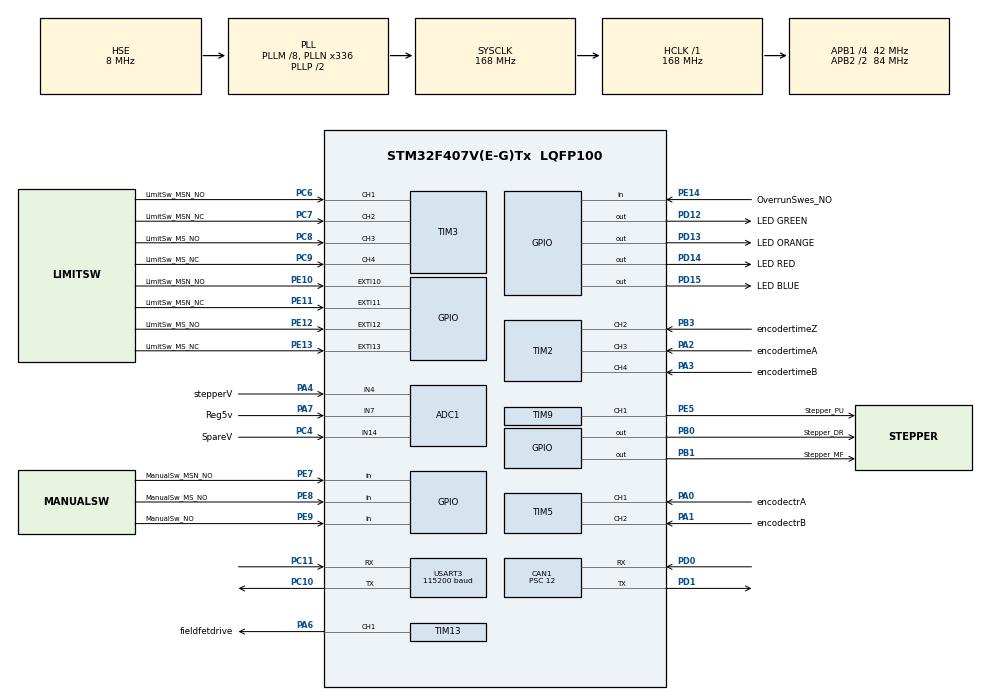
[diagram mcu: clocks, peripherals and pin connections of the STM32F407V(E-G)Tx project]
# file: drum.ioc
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ADC1.Channel-1\#ChannelRegularConversion=ADC_CHANNEL_4
ADC1.Channel-2\#ChannelRegularConversion=ADC_CHANNEL_7
ADC1.Channel-3\#ChannelRegularConversion=ADC_CHANNEL_14
ADC1.Channel-4\#ChannelRegularConversion=ADC_CHANNEL_TEMPSENSOR
ADC1.Channel-5\#ChannelRegularConversion=ADC_CHANNEL_VREFINT
ADC1.ContinuousConvMode=ENABLE
ADC1.DMAContinuousRequests=ENABLE
ADC1.NbrOfConversion=5
ADC1.NbrOfConversionFlag=1
ADC1.Rank-1\#ChannelRegularConversion=1
ADC1.Rank-2\#ChannelRegularConversion=2
ADC1.Rank-3\#ChannelRegularConversion=3
ADC1.Rank-4\#ChannelRegularConversion=4
ADC1.Rank-5\#ChannelRegularConversion=5
ADC1.SamplingTime-1\#ChannelRegularConversion=ADC_SAMPLETIME_480CYCLES
ADC1.SamplingTime-2\#ChannelRegularConversion=ADC_SAMPLETIME_480CYCLES
ADC1.SamplingTime-3\#ChannelRegularConversion=ADC_SAMPLETIME_480CYCLES
ADC1.SamplingTime-4\#ChannelRegularConversion=ADC_SAMPLETIME_480CYCLES
ADC1.SamplingTime-5\#ChannelRegularConversion=ADC_SAMPLETIME_480CYCLES
ADC1.master=1
CAN1.BS1=CAN_BS1_5TQ
CAN1.CalculateBaudRate=500000
CAN1.CalculateTimeBit=2000
CAN1.CalculateTimeQuantum=285.7142857142857
CAN1.Prescaler=12
Dma.ADC1.2.Direction=DMA_PERIPH_TO_MEMORY
Dma.ADC1.2.FIFOMode=DMA_FIFOMODE_DISABLE
Dma.ADC1.2.Instance=DMA2_Stream0
Dma.ADC1.2.MemDataAlignment=DMA_MDATAALIGN_HALFWORD
Dma.ADC1.2.MemInc=DMA_MINC_ENABLE
Dma.ADC1.2.Mode=DMA_CIRCULAR
Dma.ADC1.2.PeriphDataAlignment=DMA_PDATAALIGN_HALFWORD
Dma.ADC1.2.PeriphInc=DMA_PINC_DISABLE
Dma.ADC1.2.Priority=DMA_PRIORITY_LOW
Dma.Request0=USART3_RX
Dma.Request1=USART3_TX
Dma.Request2=ADC1
Dma.USART3_RX.0.Direction=DMA_PERIPH_TO_MEMORY
Dma.USART3_RX.0.FIFOMode=DMA_FIFOMODE_DISABLE
Dma.USART3_RX.0.Instance=DMA1_Stream1
Dma.USART3_RX.0.MemDataAlignment=DMA_MDATAALIGN_BYTE
Dma.USART3_RX.0.MemInc=DMA_MINC_ENABLE
Dma.USART3_RX.0.Mode=DMA_NORMAL
Dma.USART3_RX.0.PeriphDataAlignment=DMA_PDATAALIGN_BYTE
Dma.USART3_RX.0.PeriphInc=DMA_PINC_DISABLE
Dma.USART3_RX.0.Priority=DMA_PRIORITY_LOW
Dma.USART3_TX.1.Direction=DMA_MEMORY_TO_PERIPH
Dma.USART3_TX.1.FIFOMode=DMA_FIFOMODE_DISABLE
Dma.USART3_TX.1.Instance=DMA1_Stream3
Dma.USART3_TX.1.MemDataAlignment=DMA_MDATAALIGN_BYTE
Dma.USART3_TX.1.MemInc=DMA_MINC_ENABLE
Dma.USART3_TX.1.Mode=DMA_NORMAL
Dma.USART3_TX.1.PeriphDataAlignment=DMA_PDATAALIGN_BYTE
Dma.USART3_TX.1.PeriphInc=DMA_PINC_DISABLE
Dma.USART3_TX.1.Priority=DMA_PRIORITY_LOW
FREERTOS.INCLUDE_uxTaskGetStackHighWaterMark=1
FREERTOS.INCLUDE_vTaskDelayUntil=1
FREERTOS.INCLUDE_vTaskDelete=0
FREERTOS.INCLUDE_xTaskGetCurrentTaskHandle=1
FREERTOS.MEMORY_ALLOCATION=2
FREERTOS.Tasks01=defaultTask,0,384,StartDefaultTask,Default,NULL,Dynamic,NULL,NULL
FREERTOS.Timers01=defaultTaskTimer,CallbackdefaultTaskTimer,osTimerPeriodic,Default,NULL,Dynamic,NULL
FREERTOS.configCHECK_FOR_STACK_OVERFLOW=2
FREERTOS.configMINIMAL_STACK_SIZE=96
FREERTOS.configQUEUE_REGISTRY_SIZE=12
FREERTOS.configTICK_RATE_HZ=512
FREERTOS.configTOTAL_HEAP_SIZE=32768
FREERTOS.configUSE_TIMERS=1
Mcu.Family=STM32F4
Mcu.Name=STM32F407V(E-G)Tx
Mcu.Package=LQFP100
NVIC.ADC_IRQn=true\:7\:0\:true\:false\:true\:false\:true\:true\:true
NVIC.CAN1_RX0_IRQn=true\:7\:0\:true\:false\:true\:false\:true\:true\:true
NVIC.CAN1_RX1_IRQn=true\:7\:0\:true\:false\:true\:false\:true\:true\:true
NVIC.CAN1_TX_IRQn=true\:7\:0\:true\:false\:true\:false\:true\:true\:true
NVIC.DMA1_Stream1_IRQn=true\:10\:0\:true\:false\:true\:false\:false\:true\:true
NVIC.DMA1_Stream3_IRQn=true\:10\:0\:true\:false\:true\:false\:false\:true\:true
NVIC.DMA2_Stream0_IRQn=true\:7\:0\:true\:false\:true\:false\:false\:true\:true
NVIC.EXTI15_10_IRQn=true\:5\:0\:true\:false\:true\:false\:true\:true\:true
NVIC.PriorityGroup=NVIC_PRIORITYGROUP_4
NVIC.TIM1_BRK_TIM9_IRQn=true\:6\:0\:true\:false\:true\:false\:true\:true\:true
NVIC.TIM2_IRQn=true\:2\:0\:true\:false\:true\:false\:true\:true\:true
NVIC.TIM4_IRQn=true\:2\:0\:true\:false\:true\:false\:true\:true\:true
NVIC.TIM8_BRK_TIM12_IRQn=true\:0\:0\:false\:false\:true\:false\:false\:true\:true
NVIC.TimeBase=TIM8_BRK_TIM12_IRQn
NVIC.TimeBaseIP=TIM12
NVIC.USART3_IRQn=true\:8\:0\:true\:false\:true\:false\:true\:true\:true
PA0-WKUP.GPIO_Label=encodectrA
PA0-WKUP.GPIO_PuPd=GPIO_NOPULL
PA0-WKUP.Signal=S_TIM5_CH1
PA1.GPIO_Label=encodectrB
PA1.GPIO_PuPd=GPIO_NOPULL
PA1.Signal=S_TIM5_CH2
PA13.Mode=Serial_Wire
PA13.Signal=SYS_JTMS-SWDIO
PA14.Mode=Serial_Wire
PA14.Signal=SYS_JTCK-SWCLK
PA2.GPIO_Label=encodertimeA
PA2.GPIO_ModeDefaultPP=GPIO_MODE_AF_OD
PA2.GPIO_PuPd=GPIO_NOPULL
PA2.Signal=S_TIM2_CH3
PA3.GPIO_Label=encodertimeB
PA3.GPIO_ModeDefaultPP=GPIO_MODE_AF_OD
PA3.GPIO_PuPd=GPIO_NOPULL
PA3.Signal=S_TIM2_CH4
PA4.GPIO_Label=stepperV
PA4.Signal=ADCx_IN4
PA6.GPIO_Label=fieldfetdrive
PA6.GPIO_Speed=GPIO_SPEED_FREQ_VERY_HIGH
PA6.Signal=S_TIM13_CH1
PA7.GPIO_Label=Reg5v
PA7.Signal=ADCx_IN7
PB0.GPIO_Label=Stepper_DR
PB0.GPIO_Speed=GPIO_SPEED_FREQ_MEDIUM
PB0.Signal=GPIO_Output
PB1.GPIO_Label=Stepper_MF
PB1.Signal=GPIO_Output
PB3.GPIO_Label=encodertimeZ
PB3.GPIO_ModeDefaultPP=GPIO_MODE_AF_OD
PB3.GPIO_PuPd=GPIO_NOPULL
PB3.Signal=S_TIM2_CH2
PC10.Mode=Asynchronous
PC10.Signal=USART3_TX
PC11.Mode=Asynchronous
PC11.Signal=USART3_RX
PC4.GPIO_Label=SpareV
PC4.Signal=ADCx_IN14
PC6.GPIO_Label=LimitSw_MSN_NO
PC6.GPIO_PuPd=GPIO_PULLUP
PC6.Signal=S_TIM3_CH1
PC7.GPIO_Label=LimitSw_MSN_NC
PC7.GPIO_PuPd=GPIO_PULLUP
PC7.Signal=S_TIM3_CH2
PC8.GPIO_Label=LimitSw_MS_NO
PC8.GPIO_PuPd=GPIO_PULLUP
PC8.Signal=S_TIM3_CH3
PC9.GPIO_Label=LimitSw_MS_NC
PC9.GPIO_PuPd=GPIO_PULLUP
PC9.Signal=S_TIM3_CH4
PD0.Mode=CAN_Activate
PD0.Signal=CAN1_RX
PD1.Mode=CAN_Activate
PD1.Signal=CAN1_TX
PD12.GPIO_Label=LED GREEN
PD12.Signal=GPIO_Output
PD13.GPIO_Label=LED ORANGE
PD13.Signal=GPIO_Output
PD14.GPIO_Label=LED RED
PD14.Signal=GPIO_Output
PD15.GPIO_Label=LED BLUE
PD15.Signal=GPIO_Output
PE10.GPIO_Label=LimitSw_MSN_NO
PE10.GPIO_ModeDefaultEXTI=GPIO_MODE_IT_FALLING
PE10.GPIO_PuPd=GPIO_NOPULL
PE10.Signal=GPXTI10
PE11.GPIO_Label=LimitSw_MSN_NC
PE11.GPIO_ModeDefaultEXTI=GPIO_MODE_IT_FALLING
PE11.GPIO_PuPd=GPIO_NOPULL
PE11.Signal=GPXTI11
PE12.GPIO_Label=LimitSw_MS_NO
PE12.GPIO_ModeDefaultEXTI=GPIO_MODE_IT_FALLING
PE12.GPIO_PuPd=GPIO_NOPULL
PE12.Signal=GPXTI12
PE13.GPIO_Label=LimitSw_MS_NC
PE13.GPIO_ModeDefaultEXTI=GPIO_MODE_IT_FALLING
PE13.GPIO_PuPd=GPIO_NOPULL
PE13.Signal=GPXTI13
PE14.GPIO_Label=OverrunSwes_NO
PE14.GPIO_PuPd=GPIO_PULLUP
PE14.Signal=GPIO_Input
PE5.GPIO_Label=Stepper_PU
PE5.GPIO_PuPd=GPIO_PULLUP
PE5.GPIO_Speed=GPIO_SPEED_FREQ_VERY_HIGH
PE5.Signal=S_TIM9_CH1
PE7.GPIO_Label=ManualSw_MSN_NO
PE7.GPIO_PuPd=GPIO_NOPULL
PE7.Signal=GPIO_Input
PE8.GPIO_Label=ManualSw_MS_NO
PE8.GPIO_PuPd=GPIO_NOPULL
PE8.Signal=GPIO_Input
PE9.GPIO_Label=ManualSw_NO
PE9.GPIO_PuPd=GPIO_NOPULL
PE9.Signal=GPIO_Input
PH0-OSC_IN.Mode=HSE-External-Oscillator
PH0-OSC_IN.Signal=RCC_OSC_IN
PH1-OSC_OUT.Mode=HSE-External-Oscillator
PH1-OSC_OUT.Signal=RCC_OSC_OUT
ProjectManager.HeapSize=0x200
ProjectManager.StackSize=0x400
ProjectManager.TargetToolchain=Makefile
RCC.48MHZClocksFreq_Value=48000000
RCC.AHBFreq_Value=168000000
RCC.APB1CLKDivider=RCC_HCLK_DIV4
RCC.APB1Freq_Value=42000000
RCC.APB1TimFreq_Value=84000000
RCC.APB2CLKDivider=RCC_HCLK_DIV2
RCC.APB2Freq_Value=84000000
RCC.APB2TimFreq_Value=168000000
RCC.CortexFreq_Value=168000000
RCC.HCLKFreq_Value=168000000
RCC.HSE_VALUE=8000000
RCC.HSI_VALUE=16000000
RCC.LSE_VALUE=32768
RCC.PLLM=8
RCC.PLLN=336
RCC.PLLQ=7
RCC.PLLSourceVirtual=RCC_PLLSOURCE_HSE
RCC.SYSCLKFreq_VALUE=168000000
RCC.SYSCLKSource=RCC_SYSCLKSOURCE_PLLCLK
RCC.VCOOutputFreq_Value=336000000
SH.ADCx_IN14.0=ADC1_IN14,IN14
SH.ADCx_IN4.0=ADC1_IN4,IN4
SH.ADCx_IN7.0=ADC1_IN7,IN7
SH.S_TIM13_CH1.0=TIM13_CH1,PWM Generation1 CH1
SH.S_TIM2_CH2.0=TIM2_CH2,Input_Capture2_from_TI2
SH.S_TIM2_CH3.0=TIM2_CH3,Input_Capture3_from_TI3
SH.S_TIM2_CH4.0=TIM2_CH4,Input_Capture4_from_TI4
SH.S_TIM3_CH1.0=TIM3_CH1,Input_Capture1_from_TI1
SH.S_TIM3_CH2.0=TIM3_CH2,Input_Capture2_from_TI2
SH.S_TIM3_CH3.0=TIM3_CH3,Input_Capture3_from_TI3
SH.S_TIM3_CH4.0=TIM3_CH4,Input_Capture4_from_TI4
SH.S_TIM5_CH1.0=TIM5_CH1,Encoder_Interface
SH.S_TIM5_CH2.0=TIM5_CH2,Encoder_Interface
SH.S_TIM9_CH1.0=TIM9_CH1,PWM Generation1 CH1
TIM13.Channel=TIM_CHANNEL_1
TIM13.Period=21000
TIM2.Channel-Input_Capture2_from_TI2=TIM_CHANNEL_2
TIM2.Channel-Input_Capture3_from_TI3=TIM_CHANNEL_3
TIM2.Channel-Input_Capture4_from_TI4=TIM_CHANNEL_4
TIM2.Channel-Output\ Compare1\ No\ Output=TIM_CHANNEL_1
TIM2.ICPolarity_CH2=TIM_INPUTCHANNELPOLARITY_BOTHEDGE
TIM2.ICPolarity_CH3=TIM_INPUTCHANNELPOLARITY_BOTHEDGE
TIM2.ICPolarity_CH4=TIM_INPUTCHANNELPOLARITY_BOTHEDGE
TIM3.Channel-Input_Capture1_from_TI1=TIM_CHANNEL_1
TIM3.Channel-Input_Capture2_from_TI2=TIM_CHANNEL_2
TIM3.Channel-Input_Capture3_from_TI3=TIM_CHANNEL_3
TIM3.Channel-Input_Capture4_from_TI4=TIM_CHANNEL_4
TIM3.ICFilter_CH1=15
TIM3.ICFilter_CH2=15
TIM3.ICFilter_CH3=15
TIM3.ICFilter_CH4=15
TIM3.ICPolarity_CH1=TIM_INPUTCHANNELPOLARITY_FALLING
TIM3.ICPolarity_CH2=TIM_INPUTCHANNELPOLARITY_FALLING
TIM3.ICPolarity_CH3=TIM_INPUTCHANNELPOLARITY_FALLING
TIM3.ICPolarity_CH4=TIM_INPUTCHANNELPOLARITY_FALLING
TIM4.Channel-Output\ Compare1\ No\ Output=TIM_CHANNEL_1
TIM4.Prescaler=13125
TIM9.Channel-PWM\ Generation1\ CH1=TIM_CHANNEL_1
TIM9.OCPolarity_1=TIM_OCPOLARITY_HIGH
TIM9.Period=1680
TIM9.Pulse-PWM\ Generation1\ CH1=504
USART3.BaudRate=115200
USART3.VirtualMode=VM_ASYNC
VP_ADC1_TempSens_Input.Mode=IN-TempSens
VP_ADC1_Vref_Input.Mode=IN-Vrefint
VP_FREERTOS_VS_CMSIS_V1.Mode=CMSIS_V1
VP_SYS_VS_tim12.Mode=TIM12
VP_TIM13_VS_ClockSourceINT.Mode=Enable_Timer
VP_TIM2_VS_no_output1.Mode=Output Compare1 No Output
VP_TIM3_VS_ClockSourceINT.Mode=Internal
VP_TIM4_VS_ClockSourceINT.Mode=Internal
VP_TIM4_VS_no_output1.Mode=Output Compare1 No Output
VP_TIM9_VS_ClockSourceINT.Mode=Internal
VP_TIM9_VS_OPM.Mode=OPM_bit
board=custom

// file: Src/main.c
/* USER CODE BEGIN Header */
/**
  ******************************************************************************
  * @file           : main.c
  * @brief          : Main program body
  ******************************************************************************
  * This notice applies to any and all portions of this file
  * that are not between comment pairs USER CODE BEGIN and
  * USER CODE END. Other portions of this file, whether
  * inserted by the user or by software development tools
  * are owned by their respective copyright owners.
  *
  * Copyright (c) 2019 STMicroelectronics International N.V.
  * All rights reserved.
  *
  * Redistribution and use in source and binary forms, with or without
  * modification, are permitted, provided that the following conditions are met:
  *
  * 1. Redistribution of source code must retain the above copyright notice,
  *    this list of conditions and the following disclaimer.
  * 2. Redistributions in binary form must reproduce the above copyright notice,
  *    this list of conditions and the following disclaimer in the documentation
  *    and/or other materials provided with the distribution.
  * 3. Neither the name of STMicroelectronics nor the names of other
  *    contributors to this software may be used to endorse or promote products
  *    derived from this software without specific written permission.
  * 4. This software, including modifications and/or derivative works of this
  *    software, must execute solely and exclusively on microcontroller or
  *    microprocessor devices manufactured by or for STMicroelectronics.
  * 5. Redistribution and use of this software other than as permitted under
  *    this license is void and will automatically terminate your rights under
  *    this license.
  *
  * THIS SOFTWARE IS PROVIDED BY STMICROELECTRONICS AND CONTRIBUTORS "AS IS"
  * AND ANY EXPRESS, IMPLIED OR STATUTORY WARRANTIES, INCLUDING, BUT NOT
  * LIMITED TO, THE IMPLIED WARRANTIES OF MERCHANTABILITY, FITNESS FOR A
  * PARTICULAR PURPOSE AND NON-INFRINGEMENT OF THIRD PARTY INTELLECTUAL PROPERTY
  * RIGHTS ARE DISCLAIMED TO THE FULLEST EXTENT PERMITTED BY LAW. IN NO EVENT
  * SHALL STMICROELECTRONICS OR CONTRIBUTORS BE LIABLE FOR ANY DIRECT, INDIRECT,
  * INCIDENTAL, SPECIAL, EXEMPLARY, OR CONSEQUENTIAL DAMAGES (INCLUDING, BUT NOT
  * LIMITED TO, PROCUREMENT OF SUBSTITUTE GOODS OR SERVICES; LOSS OF USE, DATA,
  * OR PROFITS; OR BUSINESS INTERRUPTION) HOWEVER CAUSED AND ON ANY THEORY OF
  * LIABILITY, WHETHER IN CONTRACT, STRICT LIABILITY, OR TORT (INCLUDING
  * NEGLIGENCE OR OTHERWISE) ARISING IN ANY WAY OUT OF THE USE OF THIS SOFTWARE,
  * EVEN IF ADVISED OF THE POSSIBILITY OF SUCH DAMAGE.
  *
  ******************************************************************************
  */
/* USER CODE END Header */
#include "main.h"
#include "cmsis_os.h"

/* USER CODE BEGIN Includes */
#include <string.h>
#include "SerialTaskSend.h"
#include "stm32f4xx_hal_pcd.h"
#include "CanTask.h"
#include "can_iface.h"
#include "canfilter_setup.h"
#include "stm32f4xx_hal_can.h"
#include "getserialbuf.h"
#include "stackwatermark.h"
#include "yprintf.h"
#include "DTW_counter.h"
#include "SerialTaskReceive.h"
#include "yscanf.h"
#include "morse.h"
#include "MailboxTask.h"

#include "levelwind_items.h"
#include "drum_items.h"
#include "LevelwindTask.h"
#include "levelwind_switches.h"
#include "DrumTask.h"
#include "BrakeTask.h"
#include "ADCTask.h"
#include "adcparams.h"
#include "tim2tim5common_init.h"
#include "OdometerTask.h"
#include "odometer_items.h"

/* USER CODE END Includes */

/* USER CODE BEGIN PTD */

void* verr[8];
uint32_t verrx = 0;
__attribute__( ( always_inline ) ) __STATIC_INLINE uint32_t __get_SP(void)
{
  register uint32_t result;

  __ASM volatile ("MOV %0, SP\n" : "=r" (result) );
  return(result);
}

uint32_t timectr = 0;
struct CAN_CTLBLOCK* pctl0;	// Pointer to CAN1 control block
struct CAN_CTLBLOCK* pctl1;	// Pointer to CAN2 control block

uint32_t debugTX1b;
uint32_t debugTX1b_prev;

uint32_t debugTX1c;
uint32_t debugTX1c_prev;

uint32_t debug03;
uint32_t debug03_prev;

extern osThreadId SerialTaskHandle;
extern osThreadId CanTxTaskHandle;
extern osThreadId CanRxTaskHandle;
extern osThreadId SerialTaskReceiveHandle;

uint16_t m_trap = 450; // Trap codes for MX Init() and Error Handler

uint8_t canflag;
uint8_t canflag1;
uint8_t canflag2;

/* USER CODE END PTD */

ADC_HandleTypeDef hadc1;
DMA_HandleTypeDef hdma_adc1;

CAN_HandleTypeDef hcan1;

TIM_HandleTypeDef htim2;
TIM_HandleTypeDef htim3;
TIM_HandleTypeDef htim4;
TIM_HandleTypeDef htim5;
TIM_HandleTypeDef htim9;
TIM_HandleTypeDef htim13;

UART_HandleTypeDef huart3;
DMA_HandleTypeDef hdma_usart3_rx;
DMA_HandleTypeDef hdma_usart3_tx;

osThreadId defaultTaskHandle;
osTimerId defaultTaskTimerHandle;

void SystemClock_Config(void);
static void MX_GPIO_Init(void);
static void MX_DMA_Init(void);
static void MX_CAN1_Init(void);
static void MX_USART3_UART_Init(void);
static void MX_TIM2_Init(void);
static void MX_TIM5_Init(void);
static void MX_TIM9_Init(void);
static void MX_TIM13_Init(void);
static void MX_TIM3_Init(void);
static void MX_ADC1_Init(void);
static void MX_TIM4_Init(void);
void StartDefaultTask(void const * argument);
void CallbackdefaultTaskTimer(void const * argument);

int main(void)
{

  /* USER CODE BEGIN 1 */
	BaseType_t ret;	   // Used for returns from function calls
	osMessageQId Qidret; // Function call return
	osThreadId Thrdret;  // Return from thread create

// Debug: Clear heap area
//uint32_t* pclr = (uint32_t*)(0x2000bb80);
//while (pclr < (uint32_t*)(0x2000bb80 + 32768)) *pclr++ = 0x66666666;

  /* USER CODE END 1 */

  /* MCU Configuration--------------------------------------------------------*/

  /* Reset of all peripherals, Initializes the Flash interface and the Systick. */
  HAL_Init();

  /* USER CODE BEGIN Init */
	DTW_counter_init();
  /* USER CODE END Init */

  /* Configure the system clock */
  SystemClock_Config();

  /* USER CODE BEGIN SysInit */

	/* Add bcb circular buffer to SerialTaskSend for usart3 -- PC monitor */
	#define NUMCIRBCB3  16 // Size of circular buffer of BCB for usart3
	ret = xSerialTaskSendAdd(&HUARTMON, NUMCIRBCB3, 1); // dma
	if (ret < 0) morse_trap(14); // Panic LED flashing

	/* Setup TX linked list for CAN  */
   // CAN1 (CAN_HandleTypeDef *phcan, uint8_t canidx, uint16_t numtx, uint16_t numrx);
	pctl0 = can_iface_init(&hcan1, 0, 32, 32);
	if (pctl0 == NULL) morse_trap(7); // Panic LED flashing
	if (pctl0->ret < 0) morse_trap(77);

	// CAN 2
#ifdef CONFIGCAN2
	pctl1 = can_iface_init(&hcan2, 1,32, 64);
	if (pctl1 == NULL) morse_trap(8); // Panic LED flashing
	if (pctl1->ret < 0) morse_trap(88);
#endif

  /* USER CODE END SysInit */

  /* Initialize all configured peripherals */
  MX_GPIO_Init();
  MX_DMA_Init();
  MX_CAN1_Init();
  MX_USART3_UART_Init();
  MX_TIM2_Init();
  MX_TIM5_Init();
  MX_TIM9_Init();
  MX_TIM13_Init();
  MX_TIM3_Init();
  MX_ADC1_Init();
  MX_TIM4_Init();
  /* USER CODE BEGIN 2 */

  //  override the enabling of the EXTI10-15 bits by MX above
  EXTI->IMR &= ~0xfc00; // disable the interrupts

  /* USER CODE END 2 */

  /* Create the timer(s) */
  /* definition and creation of defaultTaskTimer */
  osTimerDef(defaultTaskTimer, CallbackdefaultTaskTimer);
  defaultTaskTimerHandle = osTimerCreate(osTimer(defaultTaskTimer), osTimerPeriodic, NULL);

  /* USER CODE BEGIN RTOS_TIMERS */
  /* start timers, add new ones, ... */

	/* defaultTask timer for pacing defaultTask output. */
//	ret = xTimerChangePeriod( defaultTaskTimerHandle  ,pdMS_TO_TICKS(64),0);

  /* USER CODE END RTOS_TIMERS */

  /* Create the thread(s) */
  /* definition and creation of defaultTask */
  osThreadDef(defaultTask, StartDefaultTask, osPriorityNormal, 0, 384);
  defaultTaskHandle = osThreadCreate(osThread(defaultTask), NULL);

  /* USER CODE BEGIN RTOS_THREADS */
  /* add threads, ... */
/* =================================================== */
  /* init code for USB_DEVICE */

//taskENTER_CRITICAL();
  //MX_USB_DEVICE_Init();
  //osDelay(0);
//taskEXIT_CRITICAL();

	/* Create serial task (priority) */
	// Task handle "osThreadId SerialTaskHandle" is global
	Thrdret = xSerialTaskSendCreate(osPriorityNormal);	// Create task and set Task priority
	if (Thrdret == NULL) morse_trap(225);

	/* Create serial receiving task. */
	ret = xSerialTaskReceiveCreate(osPriorityNormal);
	if (ret != pdPASS) morse_trap(224);

	/* Setup semaphore for yprint and sprintf et al. */
	yprintf_init();

  /* definition and creation of CanTxTask - CAN driver TX interface. */
  Qidret = xCanTxTaskCreate(osPriorityNormal+1, 64); // CanTask priority, Number of msgs in queue
	if (Qidret < 0) morse_trap(220); // Panic LED flashing

  /* definition and creation of CanRxTask - CAN driver RX interface. */
  /* The MailboxTask takes care of the CANRx                         */
//  Qidret = xCanRxTaskCreate(1, 32); // CanTask priority, Number of msgs in queue
//	if (Qidret < 0) morse_trap(6); // Panic LED flashing

	/* Setup CAN hardware filters to default to accept all ids. */
	HAL_StatusTypeDef Cret;
	Cret = canfilter_setup_first(0, &hcan1, 15); // CAN1
	if (Cret == HAL_ERROR) morse_trap(219);

#ifdef CONFIGCAN2
	Cret = canfilter_setup_first(0, &hcan2, 15); // CAN2
	if (Cret == HAL_ERROR) morse_trap(217);
#endif

	/* Remove "accept all" CAN msgs and add specific id & mask, or id here. */
	// See canfilter_setup.h

	/* Create MailboxTask */
	xMailboxTaskCreate(osPriorityNormal+1); // (arg) = priority

	/* Create Mailbox control block w 'take' pointer for each CAN module. */
	struct MAILBOXCANNUM* pmbxret;
	// (CAN1 control block pointer, size of circular buffer)
	pmbxret = MailboxTask_add_CANlist(pctl0, 48);
	if (pmbxret == NULL) morse_trap(215);

#ifdef CONFIGCAN2
	// (CAN2 control block pointer, size of circular buffer)
	pmbxret = MailboxTask_add_CANlist(pctl1, 48); // Use default buff size
	if (pmbxret == NULL) morse_trap(214);
#endif

  /* ADC summing, calibration, etc. */
  xADCTaskCreate(osPriorityNormal+1); // (arg) = priority

/* Levelwind (stepper) task */
  Thrdret = xLevelwindTaskCreate(osPriorityNormal+2); // (arg) = priority
  if (Thrdret == NULL) morse_trap(2161);

  /* Odometer (line speed and line out) task. */
  Thrdret = xOdometerTaskCreate(osPriorityNormal+2); // (arg) = priority
  if (Thrdret == NULL) morse_trap(2164);

  /* Drum task */
  Thrdret = xDrumTaskCreate(osPriorityNormal); // (arg) = priority
  if (Thrdret == NULL) morse_trap(2162);

  /* Brake task */
  Thrdret = xBrakeTaskCreate(osPriorityNormal); // (arg) = priority
  if (Thrdret == NULL) morse_trap(2163);

	/* Further initialization of mailboxes takes place when tasks start */

	/* Select interrupts for CAN1 */
	HAL_CAN_ActivateNotification(&hcan1, \
		CAN_IT_TX_MAILBOX_EMPTY     |  \
		CAN_IT_RX_FIFO0_MSG_PENDING |  \
		CAN_IT_RX_FIFO1_MSG_PENDING    );

	/* Select interrupts for CAN2 */
#ifdef CONFIGCAN2
	HAL_CAN_ActivateNotification(&hcan2, \
		CAN_IT_TX_MAILBOX_EMPTY     |  \
		CAN_IT_RX_FIFO0_MSG_PENDING |  \
		CAN_IT_RX_FIFO1_MSG_PENDING    );
#endif

/* =================================================== */

  /* USER CODE END RTOS_THREADS */

  /* Start scheduler */
  osKernelStart();

  /* We should never get here as control is now taken by the scheduler */

  /* Infinite loop */
  while (1)
  {

  }
}

void SystemClock_Config(void)
{
  RCC_OscInitTypeDef RCC_OscInitStruct = {0};
  RCC_ClkInitTypeDef RCC_ClkInitStruct = {0};

  /** Configure the main internal regulator output voltage
  */
  __HAL_RCC_PWR_CLK_ENABLE();
  __HAL_PWR_VOLTAGESCALING_CONFIG(PWR_REGULATOR_VOLTAGE_SCALE1);

  /** Initializes the RCC Oscillators according to the specified parameters
  * in the RCC_OscInitTypeDef structure.
  */
  RCC_OscInitStruct.OscillatorType = RCC_OSCILLATORTYPE_HSE;
  RCC_OscInitStruct.HSEState = RCC_HSE_ON;
  RCC_OscInitStruct.PLL.PLLState = RCC_PLL_ON;
  RCC_OscInitStruct.PLL.PLLSource = RCC_PLLSOURCE_HSE;
  RCC_OscInitStruct.PLL.PLLM = 8;
  RCC_OscInitStruct.PLL.PLLN = 336;
  RCC_OscInitStruct.PLL.PLLP = RCC_PLLP_DIV2;
  RCC_OscInitStruct.PLL.PLLQ = 7;
  if (HAL_RCC_OscConfig(&RCC_OscInitStruct) != HAL_OK)
  {
    Error_Handler();
  }

  /** Initializes the CPU, AHB and APB buses clocks
  */
  RCC_ClkInitStruct.ClockType = RCC_CLOCKTYPE_HCLK|RCC_CLOCKTYPE_SYSCLK
                              |RCC_CLOCKTYPE_PCLK1|RCC_CLOCKTYPE_PCLK2;
  RCC_ClkInitStruct.SYSCLKSource = RCC_SYSCLKSOURCE_PLLCLK;
  RCC_ClkInitStruct.AHBCLKDivider = RCC_SYSCLK_DIV1;
  RCC_ClkInitStruct.APB1CLKDivider = RCC_HCLK_DIV4;
  RCC_ClkInitStruct.APB2CLKDivider = RCC_HCLK_DIV2;

  if (HAL_RCC_ClockConfig(&RCC_ClkInitStruct, FLASH_LATENCY_5) != HAL_OK)
  {
    Error_Handler();
  }
}

static void MX_ADC1_Init(void)
{

  ADC_ChannelConfTypeDef sConfig = {0};

  /** Configure the global features of the ADC (Clock, Resolution, Data Alignment and number of conversion)
  */
  hadc1.Instance = ADC1;
  hadc1.Init.ClockPrescaler = ADC_CLOCK_SYNC_PCLK_DIV4;
  hadc1.Init.Resolution = ADC_RESOLUTION_12B;
  hadc1.Init.ScanConvMode = ENABLE;
  hadc1.Init.ContinuousConvMode = ENABLE;
  hadc1.Init.DiscontinuousConvMode = DISABLE;
  hadc1.Init.ExternalTrigConvEdge = ADC_EXTERNALTRIGCONVEDGE_NONE;
  hadc1.Init.ExternalTrigConv = ADC_SOFTWARE_START;
  hadc1.Init.DataAlign = ADC_DATAALIGN_RIGHT;
  hadc1.Init.NbrOfConversion = 5;
  hadc1.Init.DMAContinuousRequests = ENABLE;
  hadc1.Init.EOCSelection = ADC_EOC_SINGLE_CONV;
  if (HAL_ADC_Init(&hadc1) != HAL_OK)
  {
    Error_Handler();
  }

  /** Configure for the selected ADC regular channel its corresponding rank in the sequencer and its sample time.
  */
  sConfig.Channel = ADC_CHANNEL_4;
  sConfig.Rank = 1;
  sConfig.SamplingTime = ADC_SAMPLETIME_480CYCLES;
  if (HAL_ADC_ConfigChannel(&hadc1, &sConfig) != HAL_OK)
  {
    Error_Handler();
  }

  /** Configure for the selected ADC regular channel its corresponding rank in the sequencer and its sample time.
  */
  sConfig.Channel = ADC_CHANNEL_7;
  sConfig.Rank = 2;
  if (HAL_ADC_ConfigChannel(&hadc1, &sConfig) != HAL_OK)
  {
    Error_Handler();
  }

  /** Configure for the selected ADC regular channel its corresponding rank in the sequencer and its sample time.
  */
  sConfig.Channel = ADC_CHANNEL_14;
  sConfig.Rank = 3;
  if (HAL_ADC_ConfigChannel(&hadc1, &sConfig) != HAL_OK)
  {
    Error_Handler();
  }

  /** Configure for the selected ADC regular channel its corresponding rank in the sequencer and its sample time.
  */
  sConfig.Channel = ADC_CHANNEL_TEMPSENSOR;
  sConfig.Rank = 4;
  if (HAL_ADC_ConfigChannel(&hadc1, &sConfig) != HAL_OK)
  {
    Error_Handler();
  }

  /** Configure for the selected ADC regular channel its corresponding rank in the sequencer and its sample time.
  */
  sConfig.Channel = ADC_CHANNEL_VREFINT;
  sConfig.Rank = 5;
  if (HAL_ADC_ConfigChannel(&hadc1, &sConfig) != HAL_OK)
  {
    Error_Handler();
  }

}

static void MX_CAN1_Init(void)
{

  /* USER CODE BEGIN CAN1_Init 0 */
	m_trap = 456; // morse_trap(456);
  /* USER CODE END CAN1_Init 0 */

  hcan1.Instance = CAN1;
  hcan1.Init.Prescaler = 12;
  hcan1.Init.Mode = CAN_MODE_NORMAL;
  hcan1.Init.SyncJumpWidth = CAN_SJW_1TQ;
  hcan1.Init.TimeSeg1 = CAN_BS1_5TQ;
  hcan1.Init.TimeSeg2 = CAN_BS2_1TQ;
  hcan1.Init.TimeTriggeredMode = DISABLE;
  hcan1.Init.AutoBusOff = DISABLE;
  hcan1.Init.AutoWakeUp = DISABLE;
  hcan1.Init.AutoRetransmission = DISABLE;
  hcan1.Init.ReceiveFifoLocked = DISABLE;
  hcan1.Init.TransmitFifoPriority = DISABLE;
  if (HAL_CAN_Init(&hcan1) != HAL_OK)
  {
    Error_Handler();
  }

}

static void MX_TIM2_Init(void)
{

  TIM_MasterConfigTypeDef sMasterConfig = {0};
  TIM_OC_InitTypeDef sConfigOC = {0};
  TIM_IC_InitTypeDef sConfigIC = {0};

  htim2.Instance = TIM2;
  htim2.Init.Prescaler = 0;
  htim2.Init.CounterMode = TIM_COUNTERMODE_UP;
  htim2.Init.Period = 4294967295;
  htim2.Init.ClockDivision = TIM_CLOCKDIVISION_DIV1;
  htim2.Init.AutoReloadPreload = TIM_AUTORELOAD_PRELOAD_DISABLE;
  if (HAL_TIM_OC_Init(&htim2) != HAL_OK)
  {
    Error_Handler();
  }
  if (HAL_TIM_IC_Init(&htim2) != HAL_OK)
  {
    Error_Handler();
  }
  sMasterConfig.MasterOutputTrigger = TIM_TRGO_RESET;
  sMasterConfig.MasterSlaveMode = TIM_MASTERSLAVEMODE_DISABLE;
  if (HAL_TIMEx_MasterConfigSynchronization(&htim2, &sMasterConfig) != HAL_OK)
  {
    Error_Handler();
  }
  sConfigOC.OCMode = TIM_OCMODE_TIMING;
  sConfigOC.Pulse = 0;
  sConfigOC.OCPolarity = TIM_OCPOLARITY_HIGH;
  sConfigOC.OCFastMode = TIM_OCFAST_DISABLE;
  if (HAL_TIM_OC_ConfigChannel(&htim2, &sConfigOC, TIM_CHANNEL_1) != HAL_OK)
  {
    Error_Handler();
  }
  sConfigIC.ICPolarity = TIM_INPUTCHANNELPOLARITY_BOTHEDGE;
  sConfigIC.ICSelection = TIM_ICSELECTION_DIRECTTI;
  sConfigIC.ICPrescaler = TIM_ICPSC_DIV1;
  sConfigIC.ICFilter = 0;
  if (HAL_TIM_IC_ConfigChannel(&htim2, &sConfigIC, TIM_CHANNEL_2) != HAL_OK)
  {
    Error_Handler();
  }
  if (HAL_TIM_IC_ConfigChannel(&htim2, &sConfigIC, TIM_CHANNEL_3) != HAL_OK)
  {
    Error_Handler();
  }
  if (HAL_TIM_IC_ConfigChannel(&htim2, &sConfigIC, TIM_CHANNEL_4) != HAL_OK)
  {
    Error_Handler();
  }

}

static void MX_TIM3_Init(void)
{

  TIM_ClockConfigTypeDef sClockSourceConfig = {0};
  TIM_MasterConfigTypeDef sMasterConfig = {0};
  TIM_IC_InitTypeDef sConfigIC = {0};

  htim3.Instance = TIM3;
  htim3.Init.Prescaler = 0;
  htim3.Init.CounterMode = TIM_COUNTERMODE_UP;
  htim3.Init.Period = 65535;
  htim3.Init.ClockDivision = TIM_CLOCKDIVISION_DIV1;
  htim3.Init.AutoReloadPreload = TIM_AUTORELOAD_PRELOAD_DISABLE;
  if (HAL_TIM_Base_Init(&htim3) != HAL_OK)
  {
    Error_Handler();
  }
  sClockSourceConfig.ClockSource = TIM_CLOCKSOURCE_INTERNAL;
  if (HAL_TIM_ConfigClockSource(&htim3, &sClockSourceConfig) != HAL_OK)
  {
    Error_Handler();
  }
  if (HAL_TIM_IC_Init(&htim3) != HAL_OK)
  {
    Error_Handler();
  }
  sMasterConfig.MasterOutputTrigger = TIM_TRGO_RESET;
  sMasterConfig.MasterSlaveMode = TIM_MASTERSLAVEMODE_DISABLE;
  if (HAL_TIMEx_MasterConfigSynchronization(&htim3, &sMasterConfig) != HAL_OK)
  {
    Error_Handler();
  }
  sConfigIC.ICPolarity = TIM_INPUTCHANNELPOLARITY_FALLING;
  sConfigIC.ICSelection = TIM_ICSELECTION_DIRECTTI;
  sConfigIC.ICPrescaler = TIM_ICPSC_DIV1;
  sConfigIC.ICFilter = 15;
  if (HAL_TIM_IC_ConfigChannel(&htim3, &sConfigIC, TIM_CHANNEL_1) != HAL_OK)
  {
    Error_Handler();
  }
  if (HAL_TIM_IC_ConfigChannel(&htim3, &sConfigIC, TIM_CHANNEL_2) != HAL_OK)
  {
    Error_Handler();
  }
  if (HAL_TIM_IC_ConfigChannel(&htim3, &sConfigIC, TIM_CHANNEL_3) != HAL_OK)
  {
    Error_Handler();
  }
  if (HAL_TIM_IC_ConfigChannel(&htim3, &sConfigIC, TIM_CHANNEL_4) != HAL_OK)
  {
    Error_Handler();
  }

}

static void MX_TIM4_Init(void)
{

  TIM_ClockConfigTypeDef sClockSourceConfig = {0};
  TIM_MasterConfigTypeDef sMasterConfig = {0};
  TIM_OC_InitTypeDef sConfigOC = {0};

  htim4.Instance = TIM4;
  htim4.Init.Prescaler = 13125;
  htim4.Init.CounterMode = TIM_COUNTERMODE_UP;
  htim4.Init.Period = 65535;
  htim4.Init.ClockDivision = TIM_CLOCKDIVISION_DIV1;
  htim4.Init.AutoReloadPreload = TIM_AUTORELOAD_PRELOAD_DISABLE;
  if (HAL_TIM_Base_Init(&htim4) != HAL_OK)
  {
    Error_Handler();
  }
  sClockSourceConfig.ClockSource = TIM_CLOCKSOURCE_INTERNAL;
  if (HAL_TIM_ConfigClockSource(&htim4, &sClockSourceConfig) != HAL_OK)
  {
    Error_Handler();
  }
  if (HAL_TIM_OC_Init(&htim4) != HAL_OK)
  {
    Error_Handler();
  }
  sMasterConfig.MasterOutputTrigger = TIM_TRGO_RESET;
  sMasterConfig.MasterSlaveMode = TIM_MASTERSLAVEMODE_DISABLE;
  if (HAL_TIMEx_MasterConfigSynchronization(&htim4, &sMasterConfig) != HAL_OK)
  {
    Error_Handler();
  }
  sConfigOC.OCMode = TIM_OCMODE_TIMING;
  sConfigOC.Pulse = 0;
  sConfigOC.OCPolarity = TIM_OCPOLARITY_HIGH;
  sConfigOC.OCFastMode = TIM_OCFAST_DISABLE;
  if (HAL_TIM_OC_ConfigChannel(&htim4, &sConfigOC, TIM_CHANNEL_1) != HAL_OK)
  {
    Error_Handler();
  }

}

static void MX_TIM5_Init(void)
{

  TIM_Encoder_InitTypeDef sConfig = {0};
  TIM_MasterConfigTypeDef sMasterConfig = {0};

  htim5.Instance = TIM5;
  htim5.Init.Prescaler = 0;
  htim5.Init.CounterMode = TIM_COUNTERMODE_UP;
  htim5.Init.Period = 4294967295;
  htim5.Init.ClockDivision = TIM_CLOCKDIVISION_DIV1;
  htim5.Init.AutoReloadPreload = TIM_AUTORELOAD_PRELOAD_DISABLE;
  sConfig.EncoderMode = TIM_ENCODERMODE_TI1;
  sConfig.IC1Polarity = TIM_ICPOLARITY_RISING;
  sConfig.IC1Selection = TIM_ICSELECTION_DIRECTTI;
  sConfig.IC1Prescaler = TIM_ICPSC_DIV1;
  sConfig.IC1Filter = 0;
  sConfig.IC2Polarity = TIM_ICPOLARITY_RISING;
  sConfig.IC2Selection = TIM_ICSELECTION_DIRECTTI;
  sConfig.IC2Prescaler = TIM_ICPSC_DIV1;
  sConfig.IC2Filter = 0;
  if (HAL_TIM_Encoder_Init(&htim5, &sConfig) != HAL_OK)
  {
    Error_Handler();
  }
  sMasterConfig.MasterOutputTrigger = TIM_TRGO_RESET;
  sMasterConfig.MasterSlaveMode = TIM_MASTERSLAVEMODE_DISABLE;
  if (HAL_TIMEx_MasterConfigSynchronization(&htim5, &sMasterConfig) != HAL_OK)
  {
    Error_Handler();
  }

}

static void MX_TIM9_Init(void)
{

  TIM_ClockConfigTypeDef sClockSourceConfig = {0};
  TIM_OC_InitTypeDef sConfigOC = {0};

  htim9.Instance = TIM9;
  htim9.Init.Prescaler = 0;
  htim9.Init.CounterMode = TIM_COUNTERMODE_UP;
  htim9.Init.Period = 1680;
  htim9.Init.ClockDivision = TIM_CLOCKDIVISION_DIV1;
  htim9.Init.AutoReloadPreload = TIM_AUTORELOAD_PRELOAD_DISABLE;
  if (HAL_TIM_Base_Init(&htim9) != HAL_OK)
  {
    Error_Handler();
  }
  sClockSourceConfig.ClockSource = TIM_CLOCKSOURCE_INTERNAL;
  if (HAL_TIM_ConfigClockSource(&htim9, &sClockSourceConfig) != HAL_OK)
  {
    Error_Handler();
  }
  if (HAL_TIM_PWM_Init(&htim9) != HAL_OK)
  {
    Error_Handler();
  }
  if (HAL_TIM_OnePulse_Init(&htim9, TIM_OPMODE_SINGLE) != HAL_OK)
  {
    Error_Handler();
  }
  sConfigOC.OCMode = TIM_OCMODE_PWM1;
  sConfigOC.Pulse = 504;
  sConfigOC.OCPolarity = TIM_OCPOLARITY_HIGH;
  sConfigOC.OCFastMode = TIM_OCFAST_DISABLE;
  if (HAL_TIM_PWM_ConfigChannel(&htim9, &sConfigOC, TIM_CHANNEL_1) != HAL_OK)
  {
    Error_Handler();
  }
  HAL_TIM_MspPostInit(&htim9);

}

static void MX_TIM13_Init(void)
{

  TIM_OC_InitTypeDef sConfigOC = {0};

  htim13.Instance = TIM13;
  htim13.Init.Prescaler = 0;
  htim13.Init.CounterMode = TIM_COUNTERMODE_UP;
  htim13.Init.Period = 21000;
  htim13.Init.ClockDivision = TIM_CLOCKDIVISION_DIV1;
  htim13.Init.AutoReloadPreload = TIM_AUTORELOAD_PRELOAD_DISABLE;
  if (HAL_TIM_Base_Init(&htim13) != HAL_OK)
  {
    Error_Handler();
  }
  if (HAL_TIM_PWM_Init(&htim13) != HAL_OK)
  {
    Error_Handler();
  }
  sConfigOC.OCMode = TIM_OCMODE_PWM1;
  sConfigOC.Pulse = 0;
  sConfigOC.OCPolarity = TIM_OCPOLARITY_HIGH;
  sConfigOC.OCFastMode = TIM_OCFAST_DISABLE;
  if (HAL_TIM_PWM_ConfigChannel(&htim13, &sConfigOC, TIM_CHANNEL_1) != HAL_OK)
  {
    Error_Handler();
  }
  HAL_TIM_MspPostInit(&htim13);

}

static void MX_USART3_UART_Init(void)
{

  /* USER CODE BEGIN USART3_Init 0 */
	m_trap = 451; // morse_trap(451);
  /* USER CODE END USART3_Init 0 */

  huart3.Instance = USART3;
  huart3.Init.BaudRate = 115200;
  huart3.Init.WordLength = UART_WORDLENGTH_8B;
  huart3.Init.StopBits = UART_STOPBITS_1;
  huart3.Init.Parity = UART_PARITY_NONE;
  huart3.Init.Mode = UART_MODE_TX_RX;
  huart3.Init.HwFlowCtl = UART_HWCONTROL_NONE;
  huart3.Init.OverSampling = UART_OVERSAMPLING_16;
  if (HAL_UART_Init(&huart3) != HAL_OK)
  {
    Error_Handler();
  }

}

static void MX_DMA_Init(void)
{

  /* DMA controller clock enable */
  __HAL_RCC_DMA1_CLK_ENABLE();
  __HAL_RCC_DMA2_CLK_ENABLE();

  /* DMA interrupt init */
  /* DMA1_Stream1_IRQn interrupt configuration */
  HAL_NVIC_SetPriority(DMA1_Stream1_IRQn, 10, 0);
  HAL_NVIC_EnableIRQ(DMA1_Stream1_IRQn);
  /* DMA1_Stream3_IRQn interrupt configuration */
  HAL_NVIC_SetPriority(DMA1_Stream3_IRQn, 10, 0);
  HAL_NVIC_EnableIRQ(DMA1_Stream3_IRQn);
  /* DMA2_Stream0_IRQn interrupt configuration */
  HAL_NVIC_SetPriority(DMA2_Stream0_IRQn, 7, 0);
  HAL_NVIC_EnableIRQ(DMA2_Stream0_IRQn);

}

static void MX_GPIO_Init(void)
{
  GPIO_InitTypeDef GPIO_InitStruct = {0};

  /* GPIO Ports Clock Enable */
  __HAL_RCC_GPIOE_CLK_ENABLE();
  __HAL_RCC_GPIOH_CLK_ENABLE();
  __HAL_RCC_GPIOA_CLK_ENABLE();
  __HAL_RCC_GPIOC_CLK_ENABLE();
  __HAL_RCC_GPIOB_CLK_ENABLE();
  __HAL_RCC_GPIOD_CLK_ENABLE();

  /*Configure GPIO pin Output Level */
  HAL_GPIO_WritePin(GPIOB, Stepper_DR_Pin|Stepper_MF_Pin, GPIO_PIN_RESET);

  /*Configure GPIO pin Output Level */
  HAL_GPIO_WritePin(GPIOD, LED_GREEN_Pin|LED_ORANGE_Pin|LED_RED_Pin|LED_BLUE_Pin, GPIO_PIN_RESET);

  /*Configure GPIO pin : Stepper_DR_Pin */
  GPIO_InitStruct.Pin = Stepper_DR_Pin;
  GPIO_InitStruct.Mode = GPIO_MODE_OUTPUT_PP;
  GPIO_InitStruct.Pull = GPIO_NOPULL;
  GPIO_InitStruct.Speed = GPIO_SPEED_FREQ_MEDIUM;
  HAL_GPIO_Init(Stepper_DR_GPIO_Port, &GPIO_InitStruct);

  /*Configure GPIO pin : Stepper_MF_Pin */
  GPIO_InitStruct.Pin = Stepper_MF_Pin;
  GPIO_InitStruct.Mode = GPIO_MODE_OUTPUT_PP;
  GPIO_InitStruct.Pull = GPIO_NOPULL;
  GPIO_InitStruct.Speed = GPIO_SPEED_FREQ_LOW;
  HAL_GPIO_Init(Stepper_MF_GPIO_Port, &GPIO_InitStruct);

  /*Configure GPIO pins : ManualSw_MSN_NO_Pin ManualSw_MS_NO_Pin ManualSw_NO_Pin OverrunSwes_NO_Pin */
  GPIO_InitStruct.Pin = ManualSw_MSN_NO_Pin|ManualSw_MS_NO_Pin|ManualSw_NO_Pin|OverrunSwes_NO_Pin;
  GPIO_InitStruct.Mode = GPIO_MODE_INPUT;
  GPIO_InitStruct.Pull = GPIO_NOPULL;
  HAL_GPIO_Init(GPIOE, &GPIO_InitStruct);

  /*Configure GPIO pins : LimitSw_MSN_NO_Pin LimitSw_MSN_NC_Pin LimitSw_MS_NO_Pin LimitSw_MS_NC_Pin */
  GPIO_InitStruct.Pin = LimitSw_MSN_NO_Pin|LimitSw_MSN_NC_Pin|LimitSw_MS_NO_Pin|LimitSw_MS_NC_Pin;
  GPIO_InitStruct.Mode = GPIO_MODE_IT_FALLING;
  GPIO_InitStruct.Pull = GPIO_NOPULL;
  HAL_GPIO_Init(GPIOE, &GPIO_InitStruct);

  /*Configure GPIO pins : LED_GREEN_Pin LED_ORANGE_Pin LED_RED_Pin LED_BLUE_Pin */
  GPIO_InitStruct.Pin = LED_GREEN_Pin|LED_ORANGE_Pin|LED_RED_Pin|LED_BLUE_Pin;
  GPIO_InitStruct.Mode = GPIO_MODE_OUTPUT_PP;
  GPIO_InitStruct.Pull = GPIO_NOPULL;
  GPIO_InitStruct.Speed = GPIO_SPEED_FREQ_LOW;
  HAL_GPIO_Init(GPIOD, &GPIO_InitStruct);

  /* EXTI interrupt init*/
  HAL_NVIC_SetPriority(EXTI15_10_IRQn, 5, 0);
  HAL_NVIC_EnableIRQ(EXTI15_10_IRQn);

}

/* USER CODE BEGIN Header_StartDefaultTask */
/**
  * @brief  Function implementing the defaultTask thread.
  * @param  argument: Not used
  * @retval None
  */
// ################################################################################
// ######### DEFAULT TASK #########################################################
// ################################################################################
/* USER CODE END Header_StartDefaultTask */
void StartDefaultTask(void const * argument)
{
  /* USER CODE BEGIN 5 */

osDelay(0); // Debugging HardFault

/* Select code for testing/monitoring by uncommenting #defines */
//#define DISPLAYSTACKUSAGEFORTASKS // Stack usage for tasks
//#define ADCSHOW
//#define SHOWADCCOMMONCOMPUTATIONS
//#define STEPPERSHOW 1
//#define ENCODERSHOW
//#define SHOWENTIMCT // Encoder time/counts used for speed computation
//#define STATES       // Levelwind state machine states
#define SHOWENCANMSG  // CAN msgs with encoder computations

	#define DEFAULTTSKBIT00	(1 << 0)  // Task notification bit for sw timer: stackusage
	#define DEFAULTTSKBIT01	(1 << 1)  // Task notification bit for sw timer: something else

	/* A notification copies the internal notification word to this. */
	uint32_t noteval = 0;    // Receives notification word upon an API notify

	struct SERIALSENDTASKBCB* pbuf1 = getserialbuf(&HUARTMON,96);
	if (pbuf1 == NULL) morse_trap(11);

	struct SERIALSENDTASKBCB* pbuf3 = getserialbuf(&HUARTMON,96);
	if (pbuf3 == NULL) morse_trap(13);

	struct SERIALSENDTASKBCB* pbuf2 = getserialbuf(&HUARTMON,96);
	if (pbuf2 == NULL) morse_trap(12);

	struct SERIALSENDTASKBCB* pbuf4 = getserialbuf(&HUARTMON,96);
	if (pbuf4 == NULL) morse_trap(12);

  yprintf(&pbuf4,"\n\rDRUM REPO defaultTask starts 02/20/2025 #1\n\r");

#ifdef DISPLAYSTACKUSAGEFORTASKS
	int ctr = 0; // Running count
	uint32_t heapsize;
	uint32_t showctr = 0;
	uint32_t t1_DSUFT; // DTW time
	uint32_t t2_DSUFT;
#endif

HAL_GPIO_TogglePin(GPIOD,GPIO_PIN_15); // BLUE LED

#ifdef  SHOWSERIALPARALLELSTUFF
uint32_t spispctr_prev = 0;
#endif

/* Countdown timer for various display speeds. */
uint16_t slowtimectr = 0; // Approx 1/sec
uint16_t medtimectr = 0;  // Approx 8/sec

uint8_t ratepace = 0;

//osDelay(1);
	xTimerChangePeriod( defaultTaskTimerHandle  ,pdMS_TO_TICKS(16),0);

#ifdef ADCSHOW
  extern uint32_t adcsumdb[6]; // debug
  extern uint16_t* p16;
  uint32_t ctr1_prev = 0;
  uint32_t ct = 0;
#endif

#ifdef STEPPERSHOW
  uint32_t stepctr = 1;
  uint32_t dbsws1_prev[5] = {0};
#endif

// ===== BEGIN FOR LOOP ==============================

	for (;;)
	{
	  xTaskNotifyWait(0,0xffffffff, &noteval, portMAX_DELAY);

#ifdef STATES // Display levelwind states when any of them change
    struct LEVELWINDFUNCTION* p = &levelwindfunction; // Convenience pointer
static    uint8_t  zstate_prev;    // level-wind previous state
static    uint8_t  zisr_state_prev;// level-wind ISR state, previous
static    uint8_t  zmode_prev;          // level-wind mode (Off, Track, or Center)
static    uint8_t  zindexed_prev;       // REVISIT: indexed status MAY NOT BE NEEDED
static    uint8_t  zmc_state_prev;      // master controller state
static    uint8_t  zmc_state_sub_prev;  // master controller sub-state
static uint8_t oto_zstates;
static char* pzhdr1 = {"\n\r1 state\n\r2 isr_state\n\r3 mode"};
static char* pzhdr2 = {"\n\r4 indexed\n\r5 mc_state\n\r6 mc_state_sub"};
static char* pzhdr3 = {"\n\r7 CCMR2\n\r8 emulation_run"};

  if (oto_zstates == 0)
  { // Print column description
    oto_zstates = 1;
    yprintf(&pbuf1,"%s",pzhdr1);
    yprintf(&pbuf2,"%s",pzhdr2);
    yprintf(&pbuf3,"%s",pzhdr3);
  }

  if ((p->state        != zstate_prev)       ||
      (p->isr_state    != zisr_state_prev)   ||
      (p->mode         != zmode_prev)        ||
      (p->indexed)     != zindexed_prev      ||
      (p->mc_state     != zmc_state_prev)    ||
      (p->mc_state_sub != zmc_state_sub_prev) )
  { // Here, some state change, so output it.
    zstate_prev        = p->state;
    zisr_state_prev    = p->isr_state;
    zmode_prev         = p->mode;
    zindexed_prev      = p->indexed;
    zmc_state_prev     = p->mc_state;
    zmc_state_sub_prev = p->mc_state_sub;
    yprintf(&pbuf4,"\n\r%02X %02X %02X %02X %02X %02X ",p->state,p->isr_state,p->mode,
         p->indexed,p->mc_state,p->mc_state_sub);
extern uint8_t dbglvlem;
    yprintf(&pbuf3,"%04X %d",htim2.Instance->CCMR2, dbglvlem);

  #if 1
    extern uint32_t dbgCR1;
    extern uint32_t dbgCNT;
    extern uint32_t dbgCCR1;
    extern uint32_t dbgDIER;
    extern uint32_t dbgCCER;
    extern uint32_t dbgCCMR1;
    extern uint32_t dbgCCMR2;
    yprintf(&pbuf1," %04X %08X %08X %04X %04X %04X %04X",dbgCR1,dbgCNT,dbgCCR1,dbgDIER,dbgCCER,dbgCCMR1,dbgCCMR2);
  #endif
  }

#endif

    if ((noteval & DEFAULTTSKBIT01) != 0)
    {

#ifdef SHOWENTIMCT
      struct ODOMETERFUNCTION* pe = &odometerfunction; // Convenience pointer

      yprintf(&pbuf1,"\n\r%7d %4d", pe->odotimct_int_diff[0].tim, pe->odotimct_int_diff[0].ct);
      yprintf(&pbuf2," %7d %4d",    pe->odotimct_int_diff[1].tim, pe->odotimct_int_diff[1].ct);
      yprintf(&pbuf3," %7d %4d",    pe->odotimct_int_diff[2].tim, pe->odotimct_int_diff[2].ct);
      yprintf(&pbuf4," %7d %4d %4d",pe->odotimct_int_diff[3].tim, pe->odotimct_int_diff[3].ct, pe->en_cnt_diff);
      yprintf(&pbuf1," %9.3f", pe->odo_speed_ave_motor);
      yprintf(&pbuf2," %9.3f", pe->accel_ave_motor);
      yprintf(&pbuf3," %9.3f", pe->en_cnt_speed);
      yprintf(&pbuf4," %9.3f", pe->en_cnt_accel_motor);

#endif

#ifdef SHOWENCANMSG
      static uint8_t oto_showcanmsg;
      if (oto_showcanmsg == 0)
      {
        oto_showcanmsg = 1;
        yprintf(&pbuf3,"\n\rCOLUMNS\n\r1 en_cnt\n\r2 en_cnt_speed\n\r3 en_cnt_accel_motor");
        yprintf(&pbuf2,"\n\r4 odo_speed_ave_motor\n\r5 accel_ave_motor\n\r6 line_out");
      }
      struct ODOMETERFUNCTION* pe = &odometerfunction; // Convenience pointer

      yprintf(&pbuf4,"\n\r%7d", pe->en_cnt);
      yprintf(&pbuf1," %9.3f", pe->en_cnt_speed);
      yprintf(&pbuf2," %9.3f", pe->en_cnt_accel_motor);
      yprintf(&pbuf3," %9.3f", pe->odo_speed_ave_motor);
      yprintf(&pbuf4," %9.3f", pe->accel_ave_motor);
      yprintf(&pbuf1," %9.3f", pe->line_out);
#endif

    }

		if ((noteval & DEFAULTTSKBIT00) != 0)
		{

// ================= Highest rate =======================================

    ratepace += 1;
    if (ratepace > 32) // Slow down LCD output rate if desired
    {
      ratepace = 0;

  #ifdef STEPPERSHOW

    #if (STEPPERSHOW == 1)
    //  print number of switch interrupts since last print
      extern uint32_t dbsws1[5]; // Debug
 //     struct LEVELWINDFUNCTION* p = &levelwindfunction; // Convenience pointer
      stepctr++;
      if ((dbsws1[0]-dbsws1_prev[0]) != 0)
      {
          yprintf(&pbuf4,"\n\r%7i  %7i  %7i  %7i  %7i  %7i",
            stepctr,
            dbsws1[0]-dbsws1_prev[0],
            dbsws1[1]-dbsws1_prev[1],
            dbsws1[2]-dbsws1_prev[2],
            dbsws1[3]-dbsws1_prev[3],
            dbsws1[4]-dbsws1_prev[4]);
          dbsws1_prev[0] = dbsws1[0];
          dbsws1_prev[1] = dbsws1[1];
          dbsws1_prev[2] = dbsws1[2];
          dbsws1_prev[3] = dbsws1[3];
          dbsws1_prev[4] = dbsws1[4];
      }

    #elif (STEPPERSHOW == 2)
      //  print data for limit switch activation point statistics capture
      //  needs modification in levelwind_switches
      struct LEVELWINDFUNCTION* p = &levelwindfunction; // Convenience pointer
      if (p->sw[LIMITDBMS].flag1  == 1)
      {
        p->sw[LIMITDBMS].flag1  = 0;  //reset MS flag
        yprintf(&pbuf4,"\n\r  %5i %10i %10i %10i %10i",
          p->sw[LIMITDBMS].flag2,
          p->sw[LIMITDBMS].posaccum_NO,
          p->sw[LIMITDBMS].posaccum_NC,
          p->sw[LIMITDBMSN].posaccum_NO,
          p->sw[LIMITDBMSN].posaccum_NC);
      }

    #elif (STEPPERSHOW == 3)
      //  print encoder and velocity and postion accumulator data
      //  LEVELWINDDEBUG must be set to 1
      struct LEVELWINDDBGBUF* pdbg;
      struct SERIALSENDTASKBCB** ppbuf;
      do
      {
        pdbg = levelwind_items_getdbg();
        if (pdbg != NULL)
        {
          // Alternated buffers to overlap 'printf with uart output
          if ((stepctr & 1) == 0)
            ppbuf = &pbuf4;
          else
            ppbuf = &pbuf3;

          yprintf(ppbuf,"\n\r%7u %7i %7i %7i %7i %7i %4i",
          stepctr++,
          pdbg->intcntr,
          pdbg->tim5cnt,
          pdbg->dbg1,
          pdbg->dbg2,
          pdbg->dbg3,
          levelwindfunction.dtwmax);
        }
      } while (pdbg != NULL);
    #else
          yprintf(&pbuf4,"\n\r%9i LEVELWINDDEBUG: No debugging buffer %4i",stepctr++,levelwindfunction.dtwmax);
    #endif

#endif
    }

// ================== SLOW ==============================================
/* Countdown timer notifications. */
			slowtimectr += 1;
//			if (slowtimectr >= 16)
      if (slowtimectr >= 128)
			{
				slowtimectr = 0;

#ifdef ADCSHOW

  yprintf(&pbuf4,"\n\r%4i %9i %6i %6i %6i %6i %6i",ct, adc1.ctr-ctr1_prev,
    *(p16+0),*(p16+1),*(p16+2),*(p16+3),*(p16+4) );

    yprintf(&pbuf4,"\n\r%4i %9i %6i %6i %6i %6i %6i",ct++, adc1.ctr-ctr1_prev,
    *(p16+5),*(p16+6),*(p16+7),*(p16+8),*(p16+9) );

//    adcsumdb[0],adcsumdb[1],adcsumdb[2],adcsumdb[3],adcsumdb[4]);
  ctr1_prev = adc1.ctr;
#endif

#ifdef DISPLAYSTACKUSAGEFORTASKS
			/* Display the amount of unused stack space for tasks. */
t1_DSUFT = DTWTIME;
			showctr += 1;
/* 'for' is to test doing all scans at one timer tick. */
for (showctr = 0; showctr < 11; showctr++)
{
				switch (showctr)
				{
/* Cycle through the tasks. */
case  0: stackwatermark_show(defaultTaskHandle,  &pbuf1,"defaultTask--");break;
case  1: stackwatermark_show(SerialTaskHandle ,  &pbuf2,"SerialTask---");break;
case  2: stackwatermark_show(CanTxTaskHandle  ,  &pbuf3,"CanTxTask----");break;
case  3: stackwatermark_show(MailboxTaskHandle,  &pbuf4,"MailboxTask--");break;
case  4: stackwatermark_show(SerialTaskReceiveHandle,&pbuf1,"SerialRcvTask");break;
case  5: stackwatermark_show(LevelwindTaskHandle,&pbuf2,"LevelwindTask");break;
case  6: stackwatermark_show(DrumTaskHandle,     &pbuf3,"DrumTask-----");break;
case  7: stackwatermark_show(BrakeTaskHandle,    &pbuf3,"BrakeTask----");break;
case  8: stackwatermark_show(ADCTaskHandle,      &pbuf4,"ADCTask------");break;
case  9: stackwatermark_show(OdometerTaskHandle, &pbuf4,"OdometerTask-");break;
case 10:	heapsize = xPortGetFreeHeapSize(); // Heap usage (and test fp working.
			yprintf(&pbuf1,"\n\rGetFreeHeapSize: total: %i free %i %3.1f%% used: %i",configTOTAL_HEAP_SIZE, heapsize,\
				100.0*(float)heapsize/configTOTAL_HEAP_SIZE,(configTOTAL_HEAP_SIZE-heapsize)); break;
default: showctr=0; yprintf(&pbuf1,"\n\r%4i Unused Task stack space--", ctr++); break;
				}
}
t2_DSUFT = DTWTIME;
yprintf(&pbuf2,"\n\rDTW DUR: %d",t2_DSUFT - t1_DSUFT);

#endif

#ifdef SHOWADCCOMMONCOMPUTATIONS
      yprintf(&pbuf4,"\n\rADC: Vdd: %7.4f %8.4f   Temp: %6.1f %6.1f",adcommon.fvdd,adcommon.fvddfilt,adcommon.degC,adcommon.degCfilt);
      yprintf(&pbuf3,"\n\rInternal ref:   %d %d",adc1.chan[ADC1IDX_INTERNALVREF].sum/ADC1DMANUMSEQ, adcommon.ivdd);
      yprintf(&pbuf2,"\n\rCalibrated: vref: %6.4f",adc1.common.fvref);
#endif

  			}
// ================= Moderate ===================================
/* Countdown timer notifications. */
			medtimectr += 1;
			if (medtimectr >= 8)
			{
				medtimectr = 0;
    		HAL_GPIO_TogglePin(GPIOD,GPIO_PIN_15); // BLUE LED
			}
	  }
	}
  /* USER CODE END 5 */
}

/* CallbackdefaultTaskTimer function */
void CallbackdefaultTaskTimer(void const * argument)
{
  /* USER CODE BEGIN CallbackdefaultTaskTimer */
	BaseType_t xHigherPriorityTaskWoken = pdFALSE;
	if (defaultTaskHandle != NULL)
	{
		xTaskNotifyFromISR(defaultTaskHandle,
			DEFAULTTSKBIT00,	/* 'or' bit assigned to buffer to notification value. */
			eSetBits,      /* Set 'or' option */
			&xHigherPriorityTaskWoken );
	}

  /* USER CODE END CallbackdefaultTaskTimer */
}

void HAL_TIM_PeriodElapsedCallback(TIM_HandleTypeDef *htim)
{
  if (htim->Instance == TIM12) {
    HAL_IncTick();
  }
}

void Error_Handler(void)
{
  /* USER CODE BEGIN Error_Handler_Debug */
  /* User can add his own implementation to report the HAL error return state */
	morse_trap(m_trap); // Flash error code set in earlier MX Init()'s

  /* USER CODE END Error_Handler_Debug */
}

#ifdef  USE_FULL_ASSERT
/**
  * @brief  Reports the name of the source file and the source line number
  *         where the assert_param error has occurred.
  * @param  file: pointer to the source file name
  * @param  line: assert_param error line source number
  * @retval None
  */
void assert_failed(uint8_t *file, uint32_t line)
{
  /* USER CODE BEGIN 6 */
  /* User can add his own implementation to report the file name and line number,
     tex: printf("Wrong parameters value: file %s on line %d\r\n", file, line) */
morse_trap(222);
  /* USER CODE END 6 */
}
#endif /* USE_FULL_ASSERT */

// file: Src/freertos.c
/* USER CODE BEGIN Header */
/**
  ******************************************************************************
  * File Name          : freertos.c
  * Description        : Code for freertos applications
  ******************************************************************************
  * This notice applies to any and all portions of this file
  * that are not between comment pairs USER CODE BEGIN and
  * USER CODE END. Other portions of this file, whether
  * inserted by the user or by software development tools
  * are owned by their respective copyright owners.
  *
  * Copyright (c) 2019 STMicroelectronics International N.V.
  * All rights reserved.
  *
  * Redistribution and use in source and binary forms, with or without
  * modification, are permitted, provided that the following conditions are met:
  *
  * 1. Redistribution of source code must retain the above copyright notice,
  *    this list of conditions and the following disclaimer.
  * 2. Redistributions in binary form must reproduce the above copyright notice,
  *    this list of conditions and the following disclaimer in the documentation
  *    and/or other materials provided with the distribution.
  * 3. Neither the name of STMicroelectronics nor the names of other
  *    contributors to this software may be used to endorse or promote products
  *    derived from this software without specific written permission.
  * 4. This software, including modifications and/or derivative works of this
  *    software, must execute solely and exclusively on microcontroller or
  *    microprocessor devices manufactured by or for STMicroelectronics.
  * 5. Redistribution and use of this software other than as permitted under
  *    this license is void and will automatically terminate your rights under
  *    this license.
  *
  * THIS SOFTWARE IS PROVIDED BY STMICROELECTRONICS AND CONTRIBUTORS "AS IS"
  * AND ANY EXPRESS, IMPLIED OR STATUTORY WARRANTIES, INCLUDING, BUT NOT
  * LIMITED TO, THE IMPLIED WARRANTIES OF MERCHANTABILITY, FITNESS FOR A
  * PARTICULAR PURPOSE AND NON-INFRINGEMENT OF THIRD PARTY INTELLECTUAL PROPERTY
  * RIGHTS ARE DISCLAIMED TO THE FULLEST EXTENT PERMITTED BY LAW. IN NO EVENT
  * SHALL STMICROELECTRONICS OR CONTRIBUTORS BE LIABLE FOR ANY DIRECT, INDIRECT,
  * INCIDENTAL, SPECIAL, EXEMPLARY, OR CONSEQUENTIAL DAMAGES (INCLUDING, BUT NOT
  * LIMITED TO, PROCUREMENT OF SUBSTITUTE GOODS OR SERVICES; LOSS OF USE, DATA,
  * OR PROFITS; OR BUSINESS INTERRUPTION) HOWEVER CAUSED AND ON ANY THEORY OF
  * LIABILITY, WHETHER IN CONTRACT, STRICT LIABILITY, OR TORT (INCLUDING
  * NEGLIGENCE OR OTHERWISE) ARISING IN ANY WAY OUT OF THE USE OF THIS SOFTWARE,
  * EVEN IF ADVISED OF THE POSSIBILITY OF SUCH DAMAGE.
  *
  ******************************************************************************
  */
/* USER CODE END Header */

#include "FreeRTOS.h"
#include "task.h"
#include "main.h"

/* GetIdleTaskMemory prototype (linked to static allocation support) */
void vApplicationGetIdleTaskMemory( StaticTask_t **ppxIdleTaskTCBBuffer, StackType_t **ppxIdleTaskStackBuffer, uint32_t *pulIdleTaskStackSize );

/* GetTimerTaskMemory prototype (linked to static allocation support) */
void vApplicationGetTimerTaskMemory( StaticTask_t **ppxTimerTaskTCBBuffer, StackType_t **ppxTimerTaskStackBuffer, uint32_t *pulTimerTaskStackSize );

/* Hook prototypes */
void vApplicationStackOverflowHook(xTaskHandle xTask, signed char *pcTaskName);

/* USER CODE BEGIN 4 */
__weak void vApplicationStackOverflowHook(xTaskHandle xTask, signed char *pcTaskName)
{
   /* Run time stack overflow checking is performed if
   configCHECK_FOR_STACK_OVERFLOW is defined to 1 or 2. This hook function is
   called if a stack overflow is detected. */
}
/* USER CODE END 4 */

/* USER CODE BEGIN GET_IDLE_TASK_MEMORY */
static StaticTask_t xIdleTaskTCBBuffer;
static StackType_t xIdleStack[configMINIMAL_STACK_SIZE];

void vApplicationGetIdleTaskMemory( StaticTask_t **ppxIdleTaskTCBBuffer, StackType_t **ppxIdleTaskStackBuffer, uint32_t *pulIdleTaskStackSize )
{
  *ppxIdleTaskTCBBuffer = &xIdleTaskTCBBuffer;
  *ppxIdleTaskStackBuffer = &xIdleStack[0];
  *pulIdleTaskStackSize = configMINIMAL_STACK_SIZE;
  /* place for user code */
}
/* USER CODE END GET_IDLE_TASK_MEMORY */

/* USER CODE BEGIN GET_TIMER_TASK_MEMORY */
static StaticTask_t xTimerTaskTCBBuffer;
static StackType_t xTimerStack[configTIMER_TASK_STACK_DEPTH];

void vApplicationGetTimerTaskMemory( StaticTask_t **ppxTimerTaskTCBBuffer, StackType_t **ppxTimerTaskStackBuffer, uint32_t *pulTimerTaskStackSize )
{
  *ppxTimerTaskTCBBuffer = &xTimerTaskTCBBuffer;
  *ppxTimerTaskStackBuffer = &xTimerStack[0];
  *pulTimerTaskStackSize = configTIMER_TASK_STACK_DEPTH;
  /* place for user code */
}
/* USER CODE END GET_TIMER_TASK_MEMORY */
